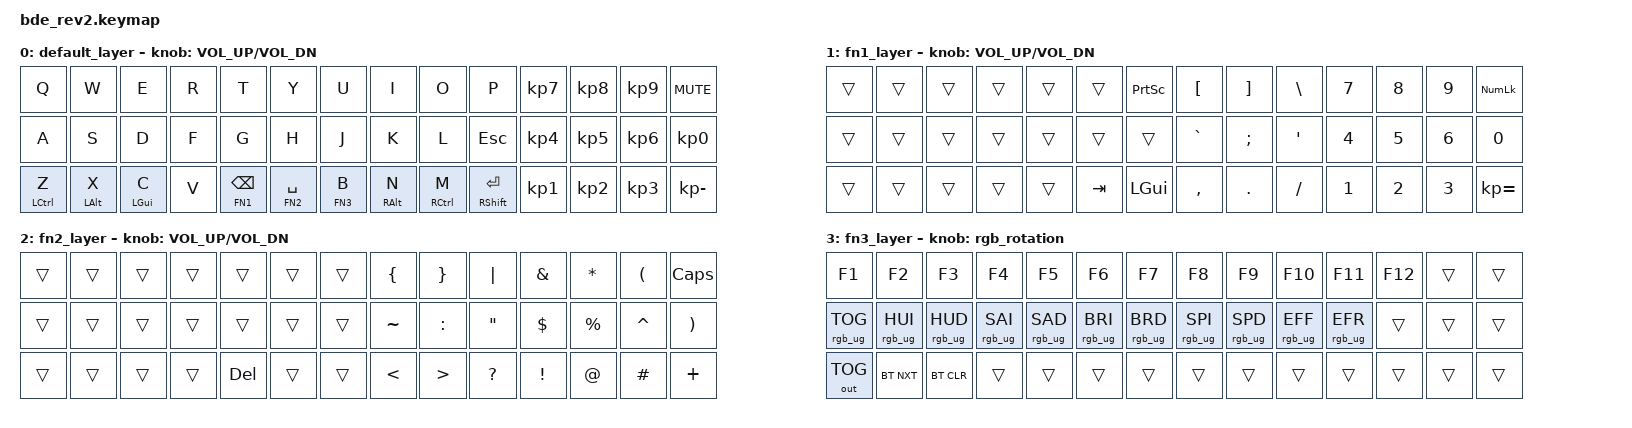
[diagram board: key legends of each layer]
/*
 * Copyright (c) 2022 The ZMK Contributors
 *
 * SPDX-License-Identifier: MIT
 */

#include <behaviors.dtsi>
#include <dt-bindings/zmk/bt.h>
#include <dt-bindings/zmk/keys.h>
#include <dt-bindings/zmk/outputs.h>
#include <dt-bindings/zmk/rgb.h>

#define DEFAULT 0
#define FN1 1
#define FN2 2
#define FN3 3

&encoder {
    status = "okay";
};

/ {
    sensors: sensors {
        compatible = "zmk,keymap-sensors";
        sensors = <&encoder>;
        triggers-per-rotation = <20>;
    };
};

/ {
    combos {
        compatible = "zmk,combos";
        combo_reset {
            timeout-ms = <50>;
            key-positions = <0 12>;
            bindings = <&sys_reset>;
        };
        combo_bootloader {
            timeout-ms = <50>;
            key-positions = <0 13>;
            bindings = <&bootloader>;
        };
   };
};

/ {
    behaviors {
        rgb_rotation: encoder_rotation {
            compatible = "zmk,behavior-sensor-rotate";
            label = "RGB control";
            #sensor-binding-cells = <0>;
            bindings = <&rgb_ug RGB_BRI>, <&rgb_ug RGB_BRD>;
        };
    };
};

/ {
    keymap {
        compatible = "zmk,keymap";

        default_layer {
            bindings = <
    &kp Q        &kp W       &kp E       &kp R    &kp T         &kp Y         &kp U      &kp I       &kp O        &kp P            &kp KP_N7  &kp KP_N8  &kp KP_N9  &kp C_MUTE
    &kp A        &kp S       &kp D       &kp F    &kp G         &kp H         &kp J      &kp K       &kp L        &kp ESC          &kp KP_N4  &kp KP_N5  &kp KP_N6  &kp KP_N0
    &mt LCTRL Z  &mt LALT X  &mt LGUI C  &kp V    &lt FN1 BSPC  &lt FN2 SPACE &lt FN3 B  &mt RALT N  &mt RCTRL M  &mt RSHFT ENTER  &kp KP_N1  &kp KP_N2  &kp KP_N3  &kp KP_MINUS
            >;

            sensor-bindings = <&inc_dec_kp C_VOL_UP C_VOL_DN>;
        };
        fn1_layer {
            bindings = <
    &trans  &trans  &trans  &trans  &trans  &trans   &kp PSCRN  &kp LBKT   &kp RBKT  &kp BSLH   &kp N7  &kp N8  &kp N9  &kp KP_NLCK
    &trans  &trans  &trans  &trans  &trans  &trans   &trans     &kp GRAVE  &kp SEMI  &kp SQT    &kp N4  &kp N5  &kp N6  &kp N0
    &trans  &trans  &trans  &trans  &trans  &kp TAB  &kp LGUI   &kp COMMA  &kp DOT   &kp SLASH  &kp N1  &kp N2  &kp N3  &kp KP_EQUAL
            >;

            sensor-bindings = <&inc_dec_kp C_VOL_UP C_VOL_DN>;
        };
        fn2_layer {
            bindings = <
    &trans  &trans  &trans  &trans  &trans   &trans  &trans  &kp LBRC   &kp RBRC   &kp PIPE   &kp AMPS  &kp STAR   &kp LPAR   &kp CLCK
    &trans  &trans  &trans  &trans  &trans   &trans  &trans  &kp TILDE  &kp COLON  &kp DQT    &kp DLLR  &kp PRCNT  &kp CARET  &kp RPAR
    &trans  &trans  &trans  &trans  &kp DEL  &trans  &trans  &kp LT     &kp GT     &kp QMARK  &kp EXCL  &kp AT     &kp HASH   &kp PLUS
            >;

            sensor-bindings = <&inc_dec_kp C_VOL_UP C_VOL_DN>;
        };
        fn3_layer {
            bindings = <
    &kp F1           &kp F2           &kp F3           &kp F4           &kp F5          &kp F6           &kp F7           &kp F8           &kp F9           &kp F10          &kp F11          &kp F12  &trans  &trans
    &rgb_ug RGB_TOG  &rgb_ug RGB_HUI  &rgb_ug RGB_HUD  &rgb_ug RGB_SAI  &rgb_ug RGB_SAD &rgb_ug RGB_BRI  &rgb_ug RGB_BRD  &rgb_ug RGB_SPI  &rgb_ug RGB_SPD  &rgb_ug RGB_EFF  &rgb_ug RGB_EFR  &trans   &trans  &trans
    &out OUT_TOG     &bt BT_NXT       &bt BT_CLR       &trans           &trans          &trans           &trans           &trans           &trans           &trans           &trans           &trans   &trans  &trans
            >;

            sensor-bindings = <&rgb_rotation>;
        };
    };
};
